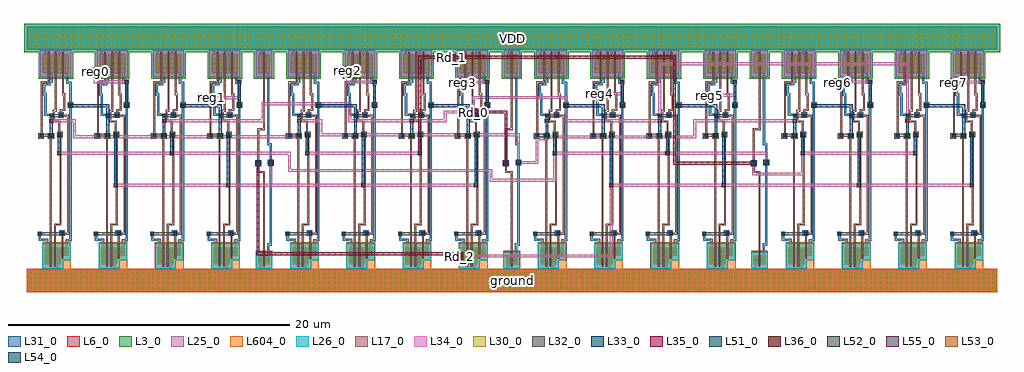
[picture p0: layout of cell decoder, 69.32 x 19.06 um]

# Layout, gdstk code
import gdstk
lib = gdstk.Library(unit=1e-6, precision=1e-09)
def R(c, l, rs):  # rectangles x0, y0, x1, y1
    for r in rs: c.add(gdstk.rectangle(r[:2], r[2:], *l))
def A(c, l, x, y, w, h, nx, ny, dx, dy):  # array of equal rectangles
    R(c, l, [(x+i*dx, y+j*dy, x+i*dx+w, y+j*dy+h) for i in range(nx) for j in range(ny)])
def P(c, l, *ps):  # polygons
    for p in ps: c.add(gdstk.Polygon(p, *l))
L3_0 = (3, 0)
L6_0 = (6, 0)
L17_0 = (17, 0)
L25_0 = (25, 0)
L26_0 = (26, 0)
L30_0 = (30, 0)
L31_0 = (31, 0)
L32_0 = (32, 0)
L33_0 = (33, 0)
L34_0 = (34, 0)
L35_0 = (35, 0)
L36_0 = (36, 0)
L51_0 = (51, 0)
L52_0 = (52, 0)
L53_0 = (53, 0)
L54_0 = (54, 0)
L55_0 = (55, 0)
L604_0 = (604, 0)

m1m2 = lib.new_cell('M1M2')
R(m1m2, L31_0, [(-0.145,-0.145,0.145,0.145)])
R(m1m2, L32_0, [(-0.145,-0.145,0.145,0.145)])
R(m1m2, L51_0, [(-0.095,-0.095,0.095,0.095)])

m2m3 = lib.new_cell('M2M3')
R(m2m3, L32_0, [(-0.145,-0.145,0.145,0.145)])
R(m2m3, L33_0, [(-0.145,-0.145,0.145,0.145)])
R(m2m3, L52_0, [(-0.095,-0.095,0.095,0.095)])

poly_m1 = lib.new_cell('POLY_M1')
R(poly_m1, L17_0, [(-0.15,-0.15,0.15,0.15)])
R(poly_m1, L30_0, [(-0.08,-0.08,0.08,0.08)])
R(poly_m1, L31_0, [(-0.13,-0.13,0.13,0.13)])

inv = lib.new_cell('inv')
R(inv, L3_0, [(-1.725,102.985,-0.295,105.115), (-2.06,104.855,0.06,106.875)])
R(inv, L6_0, [(-1.82,87.875,-0.18,89.415), (-1.425,89.785,-0.615,90.385), (-1.415,103.375,-0.605,104.725), (-1.82,105.095,-0.18,106.635)])
R(inv, L17_0, [(-1.085,89.605,-0.955,89.785), (-1.085,89.785,-0.955,90.385), (-1.085,90.385,-0.955,90.565), (-1.075,103.195,-0.945,103.375), (-1.075,103.375,-0.945,104.725), (-1.075,104.725,-0.945,104.905)])
P(inv, L17_0, [(-1.495,96.285),(-1.085,96.285),(-1.085,90.435),(-0.955,90.435),(-0.955,96.415),(-1.365,96.415),(-1.365,99.325),(-0.945,99.325),(-0.945,103.325),(-1.075,103.325),(-1.075,99.455),(-1.495,99.455)])
R(inv, L25_0, [(-1.88,87.815,-0.12,89.475), (-1.595,103.075,-0.425,105.025)])
R(inv, L26_0, [(-1.605,89.485,-0.435,90.685), (-1.88,105.035,-0.12,106.695)])
A(inv, L30_0, -1.62, 88.025, 0.16, 0.16, 4, 4, 0.36, 0.36)
A(inv, L30_0, -1.345, 103.46, 0.16, 0.16, 1, 4, 0, 0.34)
A(inv, L30_0, -0.835, 103.46, 0.16, 0.16, 1, 4, 0, 0.34)
A(inv, L30_0, -1.62, 105.245, 0.16, 0.16, 4, 4, 0.36, 0.36)
R(inv, L30_0, [(-1.355,90.005,-1.195,90.165), (-0.845,90.005,-0.685,90.165)])
R(inv, L31_0, [(-1.8,87.895,-0.2,89.395), (-1.8,87.895,-0.2,89.395), (-1.365,89.235,-1.205,90.115), (-1.405,89.955,-1.145,90.215), (-0.895,89.955,-0.635,90.215), (-1.635,96.775,-1.235,97.175), (-1.395,103.41,-1.135,104.69), (-0.885,103.41,-0.625,104.69), (-1.3,104.53,-1.14,105.275), (-1.8,105.115,-0.2,106.615), (-1.8,105.115,-0.2,106.615)])
P(inv, L31_0, [(-0.795,90.055),(-0.635,90.055),(-0.635,91.13),(-0.455,91.13),(-0.455,98.41),(-0.625,98.41),(-0.625,103.57),(-0.785,103.57),(-0.785,98.25),(-0.615,98.25),(-0.615,91.29),(-0.795,91.29)])
R(inv, L32_0, [(-1.635,96.775,-1.235,97.175), (-0.74,96.82,-0.34,97.22)])
R(inv, L33_0, [(-1.53,96.88,-1.33,97.08), (-0.635,96.92,-0.435,97.12)])
R(inv, L604_0, [(-1.88,87.815,-0.12,89.475), (-1.615,89.395,-0.425,90.775)])
inv.add(gdstk.Reference(m1m2, (-0.535,97.02)))
inv.add(gdstk.Reference(m2m3, (-0.535,97.02)))
inv.add(gdstk.Reference(poly_m1, (-1.43,96.98)))
inv.add(gdstk.Reference(m1m2, (-1.43,96.98)))
inv.add(gdstk.Reference(m2m3, (-1.43,96.98)))
inv.add(gdstk.Label('/M1', (-1.02,90.085), layer=17, texttype=0))
inv.add(gdstk.Label('/M2', (-1.01,104.05), layer=17, texttype=0))
inv.add(gdstk.Label('IN', (-1.43,96.98), layer=133, texttype=0))
inv.add(gdstk.Label('OUT', (-0.535,97.02), layer=133, texttype=0))
inv.add(gdstk.Label('VDD', (-1,105.865), layer=131, texttype=0))
inv.add(gdstk.Label('ground', (-1,88.645), layer=131, texttype=0))

and_ = lib.new_cell('and')
R(and_, L3_0, [(24.095,109.78,26.545,111.91), (23.06,111.65,27.58,113.67)])
R(and_, L6_0, [(23.3,94.67,27.34,96.21), (24.405,110.17,26.235,111.52), (23.3,111.89,27.34,113.43)])
P(and_, L6_0, [(26.205,97.78),(26.205,97.18),(25.665,97.18),(25.665,96.58),(24.545,96.58),(24.545,97.78)])
A(and_, L17_0, 24.745, 109.99, 0.13, 0.18, 3, 2, 0.51, 1.53)
A(and_, L17_0, 24.745, 110.17, 0.13, 1.35, 3, 1, 0.51, 0)
R(and_, L17_0, [(24.885,96.4,25.015,96.58), (25.195,96.4,25.325,96.58), (24.885,96.58,25.015,97.78), (25.195,96.58,25.325,97.78), (25.735,97,25.865,97.18), (25.735,97.18,25.865,97.78), (24.885,97.78,25.015,97.96), (25.195,97.78,25.325,97.96), (25.735,97.78,25.865,97.96), (24.885,97.83,25.015,105.81), (25.735,97.83,25.865,98.835), (24.21,105.645,25.105,105.845)])
P(and_, L17_0, [(25.615,107.085),(25.745,107.085),(25.745,107.48),(25.99,107.48),(25.99,108.74),(25.895,108.74),(25.895,110.12),(25.765,110.12),(25.765,108.61),(25.86,108.61),(25.86,107.61),(25.615,107.61)],
  [(25.195,97.83),(25.325,97.83),(25.325,99.35),(25.715,99.35),(25.715,105.83),(25.585,105.83),(25.585,99.48),(25.195,99.48)],
  [(24.245,105.68),(24.375,105.68),(24.375,109.455),(24.875,109.455),(24.875,110.12),(24.745,110.12),(24.745,109.585),(24.245,109.585)],
  [(25.115,106.67),(25.5,106.67),(25.5,105.7),(25.63,105.7),(25.63,106.8),(25.245,106.8),(25.245,107.43),(25.385,107.43),(25.385,110.12),(25.255,110.12),(25.255,107.56),(25.115,107.56)],
  [(25.615,107.085),(26.13,107.085),(26.13,98.835),(25.735,98.835),(25.735,98.705),(26.26,98.705),(26.26,107.215),(25.615,107.215)])
R(and_, L25_0, [(23.24,94.61,27.4,96.27), (24.225,109.87,26.415,111.82)])
R(and_, L26_0, [(23.24,111.83,27.4,113.49)])
P(and_, L26_0, [(26.385,98.08),(26.385,96.88),(25.845,96.88),(25.845,96.28),(24.365,96.28),(24.365,98.08)])
A(and_, L30_0, 23.44, 94.82, 0.16, 0.16, 11, 4, 0.36, 0.36)
A(and_, L30_0, 24.615, 96.76, 0.16, 0.16, 1, 3, 0, 0.34)
A(and_, L30_0, 25.435, 96.76, 0.16, 0.16, 1, 3, 0, 0.34)
A(and_, L30_0, 24.475, 110.255, 0.16, 0.16, 4, 4, 0.51, 0.34)
A(and_, L30_0, 23.44, 112.04, 0.16, 0.16, 11, 4, 0.36, 0.36)
R(and_, L30_0, [(25.975,97.4,26.135,97.56)])
A(and_, L31_0, 24.425, 110.205, 0.26, 1.28, 4, 1, 0.51, 0)
R(and_, L31_0, [(23.32,94.69,27.32,96.19), (23.32,94.69,27.32,96.19), (25.385,96.03,25.545,96.87), (24.565,96.71,24.825,97.65), (25.385,96.71,25.645,97.65), (25.925,97.35,26.185,97.61), (25.55,98.62,25.95,99.02), (24.06,105.5,24.46,105.9), (24.755,105.505,25.155,105.905), (25.41,105.615,25.81,106.015), (25.475,107,25.875,107.4), (24.485,111.325,24.645,112.07), (25.5,111.325,25.66,112.07), (23.32,111.91,27.32,113.41), (23.32,111.91,27.32,113.41)])
P(and_, L31_0, [(24.095,98.245),(24.615,98.245),(24.615,97.49),(24.775,97.49),(24.775,98.405),(24.255,98.405),(24.255,98.85),(24.095,98.85)],
  [(24.405,108.565),(24.51,108.565),(24.51,107.135),(25.105,107.135),(25.105,107.295),(24.67,107.295),(24.67,108.725),(24.565,108.725),(24.565,109.3),(24.96,109.3),(24.96,109.485),(25.095,109.485),(25.095,110.365),(24.935,110.365),(24.935,109.645),(24.8,109.645),(24.8,109.46),(24.405,109.46)],
  [(26.01,97.45),(26.17,97.45),(26.17,98.21),(26.435,98.21),(26.435,109.56),(26.215,109.56),(26.215,110.365),(26.055,110.365),(26.055,109.4),(26.275,109.4),(26.275,98.37),(26.01,98.37)])
R(and_, L32_0, [(24.075,98.67,25.9,98.87), (24.06,105.495,24.46,105.895), (24.8,105.505,25.2,105.905), (25.42,105.615,25.82,106.015), (24.925,107.05,25.78,107.25), (26.16,107.695,26.56,108.095)])
R(and_, L33_0, [(24.905,105.645,25.105,105.845), (25.465,105.645,25.665,105.845), (26.255,107.76,26.455,107.96)])
R(and_, L604_0, [(23.24,94.61,27.4,96.27), (24.355,96.19,26.395,98.17)])
and_.add(gdstk.Reference(m1m2, (25.025,107.15)))
and_.add(gdstk.Reference(poly_m1, (25.68,107.15)))
and_.add(gdstk.Reference(m1m2, (25.68,107.15)))
and_.add(gdstk.Reference(poly_m1, (25.565,105.765)))
and_.add(gdstk.Reference(m1m2, (25.565,105.765)))
and_.add(gdstk.Reference(m2m3, (25.565,105.765)))
and_.add(gdstk.Reference(poly_m1, (24.31,105.745)))
and_.add(gdstk.Reference(m1m2, (24.31,105.745)))
and_.add(gdstk.Reference(m2m3, (25.005,105.745)))
and_.add(gdstk.Reference(poly_m1, (25.8,98.77)))
and_.add(gdstk.Reference(m1m2, (25.8,98.77)))
and_.add(gdstk.Reference(m1m2, (26.355,107.85)))
and_.add(gdstk.Reference(m2m3, (26.355,107.85)))
and_.add(gdstk.Reference(m2m3, (25.005,105.745)))
and_.add(gdstk.Reference(m1m2, (25.005,105.745)))
and_.add(gdstk.Reference(m1m2, (24.175,98.77)))
and_.add(gdstk.Reference(poly_m1, (25.005,105.745)))
and_.add(gdstk.Label('/M3', (24.81,110.845), layer=17, texttype=0))
and_.add(gdstk.Label('/M4', (25.32,110.845), layer=17, texttype=0))
and_.add(gdstk.Label('/M5', (25.83,110.845), layer=17, texttype=0))
and_.add(gdstk.Label('/M1', (24.95,97.18), layer=17, texttype=0))
and_.add(gdstk.Label('/M2', (25.26,97.18), layer=17, texttype=0))
and_.add(gdstk.Label('/M6', (25.8,97.48), layer=17, texttype=0))
and_.add(gdstk.Label('A', (25.005,105.745), layer=133, texttype=0))
and_.add(gdstk.Label('B', (25.565,105.745), layer=133, texttype=0))
and_.add(gdstk.Label('Y', (26.355,107.86), layer=133, texttype=0))
and_.add(gdstk.Label('VDD', (25.32,112.66), layer=131, texttype=0))
and_.add(gdstk.Label('ground', (25.32,95.44), layer=131, texttype=0))

and3 = lib.new_cell('and3')
R(and3, L31_0, [(-16.155,29.61,-8.155,31.11), (-16.155,46.83,-8.155,48.33)])
R(and3, L33_0, [(-10.01,37.025,-9.81,37.225), (-10.01,37.025,-9.81,40.765), (-14.01,39.305,-13.81,39.505), (-14.01,39.305,-13.81,40.765), (-14.57,40.565,-14.37,41.81), (-14.57,41.61,-14.37,41.81), (-9.22,42.68,-9.02,44.555), (-9.22,44.355,-9.02,44.555)])
P(and3, L33_0, [(-13.22,42.68),(-10.57,42.68),(-10.57,40.565),(-10.37,40.565),(-10.37,42.88),(-13.22,42.88)])
and3.add(gdstk.Reference(and_, (-39.475,-65.08)))
and3.add(gdstk.Reference(and_, (-35.475,-65.08)))
and3.add(gdstk.Label('ground', (-12.155,30.36), layer=131, texttype=0))
and3.add(gdstk.Label('VDD', (-12.155,47.58), layer=131, texttype=0))
and3.add(gdstk.Label('C', (-9.91,37.125), layer=133, texttype=0))
and3.add(gdstk.Label('B', (-13.91,39.405), layer=133, texttype=0))
and3.add(gdstk.Label('A', (-14.47,41.71), layer=133, texttype=0))
and3.add(gdstk.Label('Y', (-9.12,44.455), layer=133, texttype=0))

m3m4 = lib.new_cell('M3M4')
R(m3m4, L33_0, [(-0.145,-0.145,0.145,0.145)])
R(m3m4, L34_0, [(-0.145,-0.145,0.145,0.145)])
R(m3m4, L53_0, [(-0.095,-0.095,0.095,0.095)])

m4m5 = lib.new_cell('M4M5')
R(m4m5, L34_0, [(-0.145,-0.145,0.145,0.145)])
R(m4m5, L35_0, [(-0.145,-0.145,0.145,0.145)])
R(m4m5, L54_0, [(-0.095,-0.095,0.095,0.095)])

m5m6 = lib.new_cell('M5M6')
R(m5m6, L35_0, [(-0.23,-0.23,0.23,0.23)])
R(m5m6, L36_0, [(-0.27,-0.27,0.27,0.27)])
R(m5m6, L55_0, [(-0.18,-0.18,0.18,0.18)])

decoder = lib.new_cell('decoder')
R(decoder, L31_0, [(-15.55,13.32,53.25,14.82), (-15.55,30.54,53.25,32.04)])
R(decoder, L33_0, [(51.39,20.735,51.595,20.935), (35.82,22.195,36.22,22.595), (0.625,22.2,1.025,22.6), (18.21,22.21,18.61,22.61), (1.52,22.235,1.92,22.635), (19.11,22.24,19.51,22.64), (36.71,22.245,37.11,22.645), (0.715,22.305,0.92,22.505), (1.61,22.345,1.815,22.545), (36.815,22.345,37.02,22.545), (-5.965,25.32,-5.76,25.52), (11.635,25.32,11.835,25.525), (-8.615,28.065,-8.415,28.275), (-0.62,28.065,-0.415,28.265), (8.985,28.065,9.19,28.265), (16.98,28.065,17.185,28.265), (44.18,28.065,44.385,28.265), (52.185,28.065,52.39,28.265)])
A(decoder, L34_0, -9.405, 20.735, 8.2, 0.2, 3, 1, 17.6, 0)
R(decoder, L34_0, [(-1.405,20.735,1.81,20.935), (1.61,20.735,1.81,22.545), (1.61,20.735,8.395,20.935), (33.795,20.735,43.595,20.935), (43.395,20.735,51.59,20.935), (0.625,22.2,1.025,22.6), (18.215,22.205,18.615,22.605), (-13.405,23.015,-5.205,23.215), (4.195,23.015,12.395,23.215), (12.195,23.015,12.4,23.215), (39.405,23.015,47.595,23.215), (21.235,24.16,21.435,25.52), (15.235,28.065,17.18,28.265), (41.865,28.065,44.38,28.265), (50.115,28.065,52.39,28.265)])
P(decoder, L34_0, [(35.92,21.53),(39.605,21.53),(39.605,23.215),(39.405,23.215),(39.405,21.73),(36.12,21.73),(36.12,22.505),(35.92,22.505)],
  [(29.795,23.015),(36.82,23.015),(36.82,22.345),(37.02,22.345),(37.02,23.215),(29.795,23.215)],
  [(-13.965,25.32),(-12.325,25.32),(-12.325,24.19),(3.835,24.19),(3.835,25.52),(3.635,25.52),(3.635,24.39),(-12.125,24.39),(-12.125,25.52),(-13.965,25.52)],
  [(19.215,22.345),(20.73,22.345),(20.73,24.03),(21.435,24.03),(21.435,24.36),(21.235,24.36),(21.235,24.23),(20.53,24.23),(20.53,22.545),(19.215,22.545)],
  [(3.635,25.32),(5.175,25.32),(5.175,24.315),(19.215,24.315),(19.215,22.345),(19.415,22.345),(19.415,24.515),(5.375,24.515),(5.375,25.52),(3.635,25.52)],
  [(29.235,25.32),(29.435,25.32),(29.435,29.36),(46.835,29.36),(46.835,25.32),(47.035,25.32),(47.035,29.56),(29.235,29.56)],
  [(21.235,24.16),(31.92,24.16),(31.92,25.32),(39.035,25.32),(39.035,25.52),(31.72,25.52),(31.72,24.36),(21.235,24.36)],
  [(-5.96,25.32),(1.265,25.32),(1.265,26.525),(7.225,26.525),(7.225,25.325),(14.22,25.325),(14.22,25.935),(16.195,25.935),(16.195,26.965),(22.615,26.965),(22.615,25.32),(29.435,25.32),(29.435,25.52),(22.815,25.52),(22.815,27.165),(15.995,27.165),(15.995,26.135),(14.02,26.135),(14.02,25.525),(7.425,25.525),(7.425,26.725),(1.065,26.725),(1.065,25.52),(-5.96,25.52)],
  [(-5.405,23.015),(2.95,23.015),(2.95,21.78),(17.265,21.78),(17.265,21.08),(21.995,21.08),(21.995,23.015),(29.995,23.015),(29.995,23.215),(21.795,23.215),(21.795,21.28),(17.465,21.28),(17.465,21.98),(3.15,21.98),(3.15,23.215),(-5.405,23.215)],
  [(-10.85,28.075),(-8.415,28.075),(-8.415,28.275),(-10.65,28.275),(-10.65,29.005),(-10.85,29.005)],
  [(-2.605,26.94),(-0.42,26.94),(-0.42,28.265),(-0.62,28.265),(-0.62,27.14),(-2.605,27.14)],
  [(7.085,28.065),(9.19,28.065),(9.19,28.265),(7.285,28.265),(7.285,29.105),(7.085,29.105)],
  [(24.95,27.24),(26.785,27.24),(26.785,28.265),(26.585,28.265),(26.585,27.44),(24.95,27.44)],
  [(32.76,27.13),(34.785,27.13),(34.785,28.265),(34.585,28.265),(34.585,27.33),(32.76,27.33)],
  [(15.015,15.705),(25.995,15.705),(25.995,20.935),(25.795,20.935),(25.795,15.905),(15.015,15.905)])
P(decoder, L35_0, [(0.715,15.875),(14.885,15.875),(14.885,15.705),(15.085,15.705),(15.085,16.075),(0.915,16.075),(0.915,22.505),(0.715,22.505)],
  [(15.995,25.935),(18.32,25.935),(18.32,22.305),(18.52,22.305),(18.52,26.135),(15.995,26.135)],
  [(12.2,23.015),(12.4,23.015),(12.4,29.82),(14.64,29.82),(14.64,30.02),(12.2,30.02)],
  [(14.44,29.82),(30.295,29.82),(30.295,22.305),(36.12,22.305),(36.12,22.505),(30.495,22.505),(30.495,30.02),(14.44,30.02)])
R(decoder, L36_0, [(15.015,15.705,15.215,15.905), (15.995,25.935,16.195,26.135), (-2.605,26.94,-2.405,27.14), (32.76,27.13,32.96,27.33), (24.95,27.24,25.15,27.44), (15.235,28.065,15.435,28.265), (41.865,28.065,42.065,28.265), (50.115,28.065,50.315,28.265), (-10.85,28.805,-10.65,29.005), (7.085,28.9,7.285,29.1), (14.45,29.84,14.61,30)])
decoder.add(gdstk.Reference(inv, (37.45,-74.575)))
decoder.add(gdstk.Reference(inv, (19.85,-74.575)))
decoder.add(gdstk.Reference(inv, (2.25,-74.575)))
decoder.add(gdstk.Reference(and3, (61.405,-16.29)))
decoder.add(gdstk.Reference(and3, (53.405,-16.29)))
decoder.add(gdstk.Reference(and3, (43.805,-16.29)))
decoder.add(gdstk.Reference(and3, (35.805,-16.29)))
decoder.add(gdstk.Reference(and3, (26.205,-16.29)))
decoder.add(gdstk.Reference(and3, (18.205,-16.29)))
decoder.add(gdstk.Reference(and3, (8.605,-16.29)))
decoder.add(gdstk.Reference(and3, (0.605,-16.29)))
decoder.add(gdstk.Reference(m3m4, (36.92,22.445)))
decoder.add(gdstk.Reference(m3m4, (29.895,23.115)))
decoder.add(gdstk.Reference(m4m5, (36.02,22.405)))
decoder.add(gdstk.Reference(m3m4, (-5.86,25.42)))
decoder.add(gdstk.Reference(m3m4, (4.295,23.115)))
decoder.add(gdstk.Reference(m3m4, (12.295,23.115)))
decoder.add(gdstk.Reference(m3m4, (19.315,22.445)))
decoder.add(gdstk.Reference(m3m4, (18.42,22.405)))
decoder.add(gdstk.Reference(m4m5, (18.42,22.405)))
decoder.add(gdstk.Reference(m3m4, (21.335,25.42)))
decoder.add(gdstk.Reference(m5m6, (14.54,29.92)))
decoder.add(gdstk.Reference(m4m5, (12.3,23.115)))
decoder.add(gdstk.Reference(m3m4, (46.935,25.42)))
decoder.add(gdstk.Reference(m3m4, (29.335,25.42)))
decoder.add(gdstk.Reference(m3m4, (38.935,25.42)))
decoder.add(gdstk.Reference(m3m4, (47.495,23.115)))
decoder.add(gdstk.Reference(m3m4, (39.505,23.115)))
decoder.add(gdstk.Reference(m3m4, (36.02,22.405)))
decoder.add(gdstk.Reference(m3m4, (0.815,22.405)))
decoder.add(gdstk.Reference(m4m5, (0.815,22.405)))
decoder.add(gdstk.Reference(m3m4, (-9.305,20.835)))
decoder.add(gdstk.Reference(m3m4, (-1.305,20.835)))
decoder.add(gdstk.Reference(m3m4, (8.295,20.835)))
decoder.add(gdstk.Reference(m3m4, (1.71,22.445)))
decoder.add(gdstk.Reference(m3m4, (16.295,20.835)))
decoder.add(gdstk.Reference(m3m4, (-13.305,23.115)))
decoder.add(gdstk.Reference(m3m4, (-5.305,23.115)))
decoder.add(gdstk.Reference(m3m4, (21.895,23.115)))
decoder.add(gdstk.Reference(m3m4, (11.735,25.425)))
decoder.add(gdstk.Reference(m4m5, (16.095,26.035)))
decoder.add(gdstk.Reference(m5m6, (16.095,26.035)))
decoder.add(gdstk.Reference(m3m4, (-13.865,25.42)))
decoder.add(gdstk.Reference(m3m4, (3.735,25.42)))
decoder.add(gdstk.Reference(m3m4, (34.685,28.165)))
decoder.add(gdstk.Reference(m4m5, (32.86,27.23)))
decoder.add(gdstk.Reference(m5m6, (32.86,27.23)))
decoder.add(gdstk.Reference(m3m4, (44.28,28.165)))
decoder.add(gdstk.Reference(m4m5, (41.965,28.165)))
decoder.add(gdstk.Reference(m5m6, (41.965,28.165)))
decoder.add(gdstk.Reference(m3m4, (52.29,28.165)))
decoder.add(gdstk.Reference(m4m5, (50.215,28.165)))
decoder.add(gdstk.Reference(m5m6, (50.215,28.165)))
decoder.add(gdstk.Reference(m3m4, (43.495,20.835)))
decoder.add(gdstk.Reference(m3m4, (51.49,20.835)))
decoder.add(gdstk.Reference(m3m4, (33.895,20.835)))
decoder.add(gdstk.Reference(m3m4, (25.895,20.835)))
decoder.add(gdstk.Reference(m4m5, (15.115,15.805)))
decoder.add(gdstk.Reference(m5m6, (15.115,15.805)))
decoder.add(gdstk.Reference(m3m4, (-8.515,28.175)))
decoder.add(gdstk.Reference(m4m5, (-10.75,28.905)))
decoder.add(gdstk.Reference(m5m6, (-10.75,28.905)))
decoder.add(gdstk.Reference(m3m4, (-0.52,28.165)))
decoder.add(gdstk.Reference(m4m5, (-2.505,27.04)))
decoder.add(gdstk.Reference(m5m6, (-2.505,27.04)))
decoder.add(gdstk.Reference(m3m4, (9.09,28.165)))
decoder.add(gdstk.Reference(m4m5, (7.185,29.005)))
decoder.add(gdstk.Reference(m5m6, (7.185,29.005)))
decoder.add(gdstk.Reference(m3m4, (17.08,28.165)))
decoder.add(gdstk.Reference(m4m5, (15.335,28.165)))
decoder.add(gdstk.Reference(m5m6, (15.335,28.165)))
decoder.add(gdstk.Reference(m3m4, (26.685,28.165)))
decoder.add(gdstk.Reference(m4m5, (25.05,27.34)))
decoder.add(gdstk.Reference(m5m6, (25.05,27.34)))
decoder.add(gdstk.Label('Rd_0', (16.095,26.035), layer=136, texttype=0))
decoder.add(gdstk.Label('Rd_1', (14.53,29.92), layer=136, texttype=0))
decoder.add(gdstk.Label('Rd_2', (15.115,15.805), layer=136, texttype=0))
decoder.add(gdstk.Label('reg7', (50.215,28.165), layer=136, texttype=0))
decoder.add(gdstk.Label('reg6', (41.965,28.165), layer=136, texttype=0))
decoder.add(gdstk.Label('reg5', (32.86,27.23), layer=136, texttype=0))
decoder.add(gdstk.Label('reg4', (25.05,27.34), layer=136, texttype=0))
decoder.add(gdstk.Label('reg3', (15.335,28.165), layer=136, texttype=0))
decoder.add(gdstk.Label('reg2', (7.185,29), layer=136, texttype=0))
decoder.add(gdstk.Label('reg1', (-2.505,27.04), layer=136, texttype=0))
decoder.add(gdstk.Label('reg0', (-10.75,28.905), layer=136, texttype=0))
decoder.add(gdstk.Label('VDD', (18.85,31.29), layer=131, texttype=0))
decoder.add(gdstk.Label('ground', (18.85,14.07), layer=131, texttype=0))

lib.write_gds('decoder.gds')
